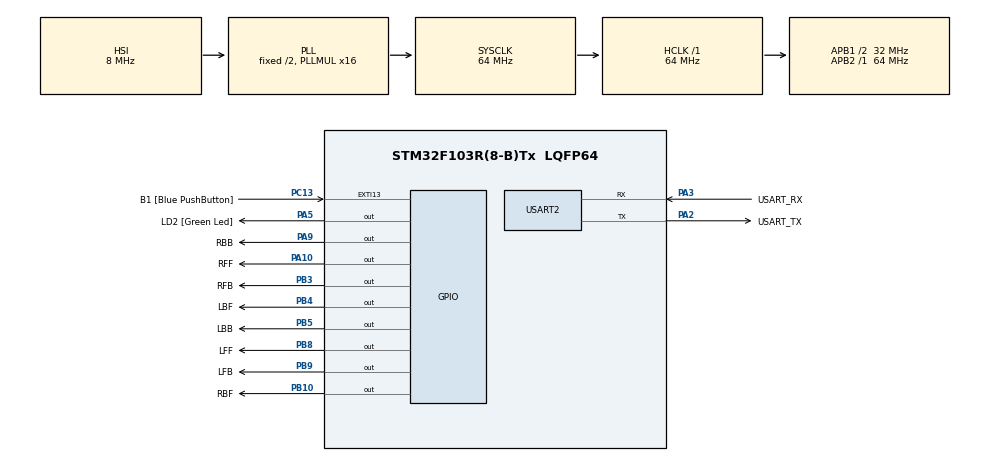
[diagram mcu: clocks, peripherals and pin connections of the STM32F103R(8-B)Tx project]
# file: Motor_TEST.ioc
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Mcu.Family=STM32F1
Mcu.Name=STM32F103R(8-B)Tx
Mcu.Package=LQFP64
NVIC.EXTI15_10_IRQn=true\:0\:0\:false\:false\:true\:true\:true\:true
NVIC.PriorityGroup=NVIC_PRIORITYGROUP_4
PA10.GPIO_Label=RFF
PA10.Signal=GPIO_Output
PA13.GPIO_Label=TMS
PA13.Mode=Serial_Wire
PA13.Signal=SYS_JTMS-SWDIO
PA14.GPIO_Label=TCK
PA14.Mode=Serial_Wire
PA14.Signal=SYS_JTCK-SWCLK
PA2.GPIO_Label=USART_TX
PA2.GPIO_Mode=GPIO_MODE_AF_PP
PA2.GPIO_PuPd=GPIO_NOPULL
PA2.GPIO_Speed=GPIO_SPEED_FREQ_LOW
PA2.Mode=Asynchronous
PA2.Signal=USART2_TX
PA3.GPIO_Label=USART_RX
PA3.GPIO_Mode=GPIO_MODE_AF_PP
PA3.GPIO_PuPd=GPIO_NOPULL
PA3.GPIO_Speed=GPIO_SPEED_FREQ_LOW
PA3.Mode=Asynchronous
PA3.Signal=USART2_RX
PA5.GPIO_Label=LD2 [Green Led]
PA5.GPIO_ModeDefaultOutputPP=GPIO_MODE_OUTPUT_PP
PA5.GPIO_PuPd=GPIO_NOPULL
PA5.GPIO_Speed=GPIO_SPEED_FREQ_LOW
PA5.Signal=GPIO_Output
PA9.GPIO_Label=RBB
PA9.Signal=GPIO_Output
PB10.GPIO_Label=RBF
PB10.Signal=GPIO_Output
PB3.GPIO_Label=RFB
PB3.Signal=GPIO_Output
PB4.GPIO_Label=LBF
PB4.Signal=GPIO_Output
PB5.GPIO_Label=LBB
PB5.Signal=GPIO_Output
PB8.GPIO_Label=LFF
PB8.Signal=GPIO_Output
PB9.GPIO_Label=LFB
PB9.Signal=GPIO_Output
PC13-TAMPER-RTC.GPIO_Label=B1 [Blue PushButton]
PC13-TAMPER-RTC.GPIO_PuPd=GPIO_NOPULL
PC13-TAMPER-RTC.Signal=GPXTI13
PC14-OSC32_IN.Signal=RCC_OSC32_IN
PC15-OSC32_OUT.Signal=RCC_OSC32_OUT
PD0-OSC_IN.Signal=RCC_OSC_IN
PD1-OSC_OUT.Signal=RCC_OSC_OUT
ProjectManager.HeapSize=0x200
ProjectManager.StackSize=0x400
ProjectManager.TargetToolchain=STM32CubeIDE
RCC.AHBFreq_Value=64000000
RCC.APB1CLKDivider=RCC_HCLK_DIV2
RCC.APB1Freq_Value=32000000
RCC.APB1TimFreq_Value=64000000
RCC.APB2Freq_Value=64000000
RCC.APB2TimFreq_Value=64000000
RCC.HCLKFreq_Value=64000000
RCC.PLLMUL=RCC_PLL_MUL16
RCC.RTCClockSelection=RCC_RTCCLKSOURCE_LSE
RCC.SYSCLKFreq_VALUE=64000000
RCC.SYSCLKSource=RCC_SYSCLKSOURCE_PLLCLK
RCC.USBFreq_Value=64000000
USART2.VirtualMode=VM_ASYNC
board=NUCLEO-F103RB

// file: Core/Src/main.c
/* USER CODE BEGIN Header */
/**
  ******************************************************************************
  * @file           : main.c
  * @brief          : Main program body
  ******************************************************************************
  * @attention
  *
  * Copyright (c) 2025 STMicroelectronics.
  * All rights reserved.
  *
  * This software is licensed under terms that can be found in the LICENSE file
  * in the root directory of this software component.
  * If no LICENSE file comes with this software, it is provided AS-IS.
  *
  ******************************************************************************
  */
/* USER CODE END Header */
#include "main.h"

/* USER CODE BEGIN Includes */
#include <stdio.h>
#include <stdint.h>
/* USER CODE END Includes */

UART_HandleTypeDef huart2;

void SystemClock_Config(void);
static void MX_GPIO_Init(void);
static void MX_USART2_UART_Init(void);

/* USER CODE BEGIN 0 */

#ifdef __GNUC__

#define PUTCHAR_PROTOTYPE int __io_putchar(int ch)
#else
#define PUTCHAR_PROTOTYPE int fputc(int ch, FILE *f)
#endif /* __GNUC__ */

PUTCHAR_PROTOTYPE
{
	if (ch =='\n')
		HAL_UART_Transmit (&huart2, (uint8_t*) "\r", 1, 0xFFFF);
	HAL_UART_Transmit (&huart2, (uint8_t*) &ch, 1, 0xFFFF);

	return ch;
}

void smartcar_forward(void)
{
	  HAL_GPIO_WritePin(LFF_GPIO_Port, LFF_Pin, 1);
	  HAL_GPIO_WritePin(LFB_GPIO_Port, LFB_Pin, 0);
	  HAL_GPIO_WritePin(LBF_GPIO_Port, LBF_Pin, 1);
	  HAL_GPIO_WritePin(LBB_GPIO_Port, LBB_Pin, 0);
	  HAL_GPIO_WritePin(RFF_GPIO_Port, RFF_Pin, 1);
	  HAL_GPIO_WritePin(RFB_GPIO_Port, RFB_Pin, 0);
	  HAL_GPIO_WritePin(RBF_GPIO_Port, RBF_Pin, 1);
	  HAL_GPIO_WritePin(RBB_GPIO_Port, RBB_Pin, 0);
}

void smartcar_right(void)
{
	  HAL_GPIO_WritePin(LFF_GPIO_Port, LFF_Pin, 0);
	  HAL_GPIO_WritePin(LFB_GPIO_Port, LFB_Pin, 1);
	  HAL_GPIO_WritePin(LBF_GPIO_Port, LBF_Pin, 0);
	  HAL_GPIO_WritePin(LBB_GPIO_Port, LBB_Pin, 1);
	  HAL_GPIO_WritePin(RFF_GPIO_Port, RFF_Pin, 1);
	  HAL_GPIO_WritePin(RFB_GPIO_Port, RFB_Pin, 0);
	  HAL_GPIO_WritePin(RBF_GPIO_Port, RBF_Pin, 1);
	  HAL_GPIO_WritePin(RBB_GPIO_Port, RBB_Pin, 0);
}
void smartcar_left(void)
{
	  HAL_GPIO_WritePin(LFF_GPIO_Port, LFF_Pin, 1);
	  HAL_GPIO_WritePin(LFB_GPIO_Port, LFB_Pin, 0);
	  HAL_GPIO_WritePin(LBF_GPIO_Port, LBF_Pin, 1);
	  HAL_GPIO_WritePin(LBB_GPIO_Port, LBB_Pin, 0);
	  HAL_GPIO_WritePin(RFF_GPIO_Port, RFF_Pin, 0);
	  HAL_GPIO_WritePin(RFB_GPIO_Port, RFB_Pin, 1);
	  HAL_GPIO_WritePin(RBF_GPIO_Port, RBF_Pin, 0);
	  HAL_GPIO_WritePin(RBB_GPIO_Port, RBB_Pin, 1);
}
void smartcar_backward(void)
{
	  HAL_GPIO_WritePin(LFF_GPIO_Port, LFF_Pin, 0);
	  HAL_GPIO_WritePin(LFB_GPIO_Port, LFB_Pin, 1);
	  HAL_GPIO_WritePin(LBF_GPIO_Port, LBF_Pin, 0);
	  HAL_GPIO_WritePin(LBB_GPIO_Port, LBB_Pin, 1);
	  HAL_GPIO_WritePin(RFF_GPIO_Port, RFF_Pin, 0);
	  HAL_GPIO_WritePin(RFB_GPIO_Port, RFB_Pin, 1);
	  HAL_GPIO_WritePin(RBF_GPIO_Port, RBF_Pin, 0);
	  HAL_GPIO_WritePin(RBB_GPIO_Port, RBB_Pin, 1);
}
void smartcar_stop(void)
{
	  HAL_GPIO_WritePin(LFF_GPIO_Port, LFF_Pin, 0);
	  HAL_GPIO_WritePin(LFB_GPIO_Port, LFB_Pin, 0);
	  HAL_GPIO_WritePin(LBF_GPIO_Port, LBF_Pin, 0);
	  HAL_GPIO_WritePin(LBB_GPIO_Port, LBB_Pin, 0);
	  HAL_GPIO_WritePin(RFF_GPIO_Port, RFF_Pin, 0);
	  HAL_GPIO_WritePin(RFB_GPIO_Port, RFB_Pin, 0);
	  HAL_GPIO_WritePin(RBF_GPIO_Port, RBF_Pin, 0);
	  HAL_GPIO_WritePin(RBB_GPIO_Port, RBB_Pin, 0);
}

/* USER CODE END 0 */

int main(void)
{

  /* MCU Configuration--------------------------------------------------------*/

  /* Reset of all peripherals, Initializes the Flash interface and the Systick. */
  HAL_Init();

  /* Configure the system clock */
  SystemClock_Config();

  /* Initialize all configured peripherals */
  MX_GPIO_Init();
  MX_USART2_UART_Init();
  /* USER CODE BEGIN 2 */
  uint8_t ch;
  /* USER CODE END 2 */

  /* Infinite loop */
  /* USER CODE BEGIN WHILE */
  while (1)
  {
	  HAL_UART_Receive(&huart2, &ch, 1, HAL_MAX_DELAY);
	  if(ch == 'w')
	  {
		  printf("forward\n");
		  smartcar_forward();
	  }
	  else if(ch == 's')
	  {
		  printf("backward\n");
		  smartcar_backward();
	  }
	  else if(ch == 'q')
	  {
		  printf("stop\n");
		  smartcar_stop();
	  }
	  else if(ch == 'd')
	  {
		  printf("right\n");
		  smartcar_right();
	  }
	  else if(ch == 'a')
	  {
		  printf("left\n");
		  smartcar_left();
	  }
	  else
	  {
		  printf("key error\n");
		  smartcar_stop();
	  }

//	  smartcar_forward();
//	  HAL_Delay(5000);
//	  smartcar_backward();
//	  HAL_Delay(5000);
//	  smartcar_stop();
//	  HAL_Delay(5000);

//	  HAL_GPIO_WritePin(LD2_GPIO_Port, LD2_Pin, 1);
//	  HAL_GPIO_WritePin(LED2_GPIO_Port, LED2_Pin, 1);
//	  HAL_GPIO_WritePin(LFF_GPIO_Port, LFF_Pin, 1);
//	  HAL_GPIO_WritePin(LFB_GPIO_Port, LFB_Pin, 0);
//	  HAL_GPIO_WritePin(LBF_GPIO_Port, LBF_Pin, 1);
// 	  HAL_GPIO_WritePin(LBB_GPIO_Port, LBB_Pin, 0);
//	  HAL_GPIO_WritePin(RFF_GPIO_Port, RFF_Pin, 1);
//	  HAL_GPIO_WritePin(RFB_GPIO_Port, RFB_Pin, 0);
//	  HAL_GPIO_WritePin(RBF_GPIO_Port, RBF_Pin, 1);
//	  HAL_GPIO_WritePin(RBB_GPIO_Port, RBB_Pin, 0);
//	  HAL_Delay(100);

    /* USER CODE END WHILE */

  }
}

void SystemClock_Config(void)
{
  RCC_OscInitTypeDef RCC_OscInitStruct = {0};
  RCC_ClkInitTypeDef RCC_ClkInitStruct = {0};

  /** Initializes the RCC Oscillators according to the specified parameters
  * in the RCC_OscInitTypeDef structure.
  */
  RCC_OscInitStruct.OscillatorType = RCC_OSCILLATORTYPE_HSI;
  RCC_OscInitStruct.HSIState = RCC_HSI_ON;
  RCC_OscInitStruct.HSICalibrationValue = RCC_HSICALIBRATION_DEFAULT;
  RCC_OscInitStruct.PLL.PLLState = RCC_PLL_ON;
  RCC_OscInitStruct.PLL.PLLSource = RCC_PLLSOURCE_HSI_DIV2;
  RCC_OscInitStruct.PLL.PLLMUL = RCC_PLL_MUL16;
  if (HAL_RCC_OscConfig(&RCC_OscInitStruct) != HAL_OK)
  {
    Error_Handler();
  }

  /** Initializes the CPU, AHB and APB buses clocks
  */
  RCC_ClkInitStruct.ClockType = RCC_CLOCKTYPE_HCLK|RCC_CLOCKTYPE_SYSCLK
                              |RCC_CLOCKTYPE_PCLK1|RCC_CLOCKTYPE_PCLK2;
  RCC_ClkInitStruct.SYSCLKSource = RCC_SYSCLKSOURCE_PLLCLK;
  RCC_ClkInitStruct.AHBCLKDivider = RCC_SYSCLK_DIV1;
  RCC_ClkInitStruct.APB1CLKDivider = RCC_HCLK_DIV2;
  RCC_ClkInitStruct.APB2CLKDivider = RCC_HCLK_DIV1;

  if (HAL_RCC_ClockConfig(&RCC_ClkInitStruct, FLASH_LATENCY_2) != HAL_OK)
  {
    Error_Handler();
  }
}

static void MX_USART2_UART_Init(void)
{

  huart2.Instance = USART2;
  huart2.Init.BaudRate = 115200;
  huart2.Init.WordLength = UART_WORDLENGTH_8B;
  huart2.Init.StopBits = UART_STOPBITS_1;
  huart2.Init.Parity = UART_PARITY_NONE;
  huart2.Init.Mode = UART_MODE_TX_RX;
  huart2.Init.HwFlowCtl = UART_HWCONTROL_NONE;
  huart2.Init.OverSampling = UART_OVERSAMPLING_16;
  if (HAL_UART_Init(&huart2) != HAL_OK)
  {
    Error_Handler();
  }

}

static void MX_GPIO_Init(void)
{
  GPIO_InitTypeDef GPIO_InitStruct = {0};

  /* GPIO Ports Clock Enable */
  __HAL_RCC_GPIOC_CLK_ENABLE();
  __HAL_RCC_GPIOD_CLK_ENABLE();
  __HAL_RCC_GPIOA_CLK_ENABLE();
  __HAL_RCC_GPIOB_CLK_ENABLE();

  /*Configure GPIO pin Output Level */
  HAL_GPIO_WritePin(GPIOA, LD2_Pin|RBB_Pin|RFF_Pin, GPIO_PIN_RESET);

  /*Configure GPIO pin Output Level */
  HAL_GPIO_WritePin(GPIOB, RBF_Pin|RFB_Pin|LBF_Pin|LBB_Pin
                          |LFF_Pin|LFB_Pin, GPIO_PIN_RESET);

  /*Configure GPIO pin : B1_Pin */
  GPIO_InitStruct.Pin = B1_Pin;
  GPIO_InitStruct.Mode = GPIO_MODE_IT_RISING;
  GPIO_InitStruct.Pull = GPIO_NOPULL;
  HAL_GPIO_Init(B1_GPIO_Port, &GPIO_InitStruct);

  /*Configure GPIO pins : LD2_Pin RBB_Pin RFF_Pin */
  GPIO_InitStruct.Pin = LD2_Pin|RBB_Pin|RFF_Pin;
  GPIO_InitStruct.Mode = GPIO_MODE_OUTPUT_PP;
  GPIO_InitStruct.Pull = GPIO_NOPULL;
  GPIO_InitStruct.Speed = GPIO_SPEED_FREQ_LOW;
  HAL_GPIO_Init(GPIOA, &GPIO_InitStruct);

  /*Configure GPIO pins : RBF_Pin RFB_Pin LBF_Pin LBB_Pin
                           LFF_Pin LFB_Pin */
  GPIO_InitStruct.Pin = RBF_Pin|RFB_Pin|LBF_Pin|LBB_Pin
                          |LFF_Pin|LFB_Pin;
  GPIO_InitStruct.Mode = GPIO_MODE_OUTPUT_PP;
  GPIO_InitStruct.Pull = GPIO_NOPULL;
  GPIO_InitStruct.Speed = GPIO_SPEED_FREQ_LOW;
  HAL_GPIO_Init(GPIOB, &GPIO_InitStruct);

  /* EXTI interrupt init*/
  HAL_NVIC_SetPriority(EXTI15_10_IRQn, 0, 0);
  HAL_NVIC_EnableIRQ(EXTI15_10_IRQn);

}

void Error_Handler(void)
{
  __disable_irq();
  while (1)
  {
  }
}
